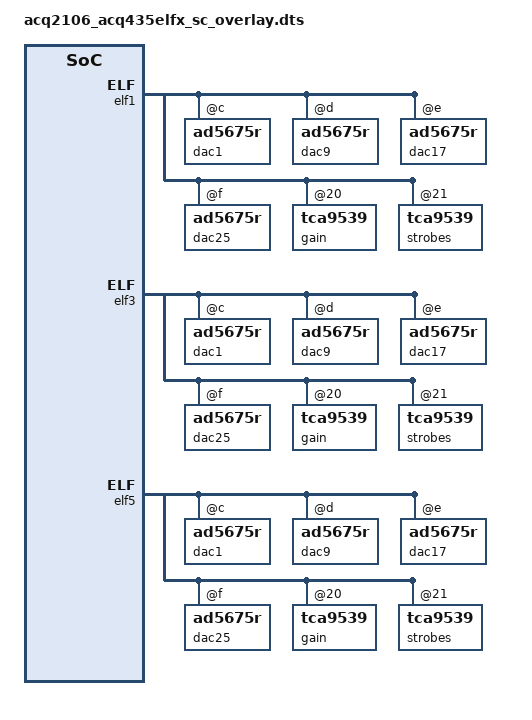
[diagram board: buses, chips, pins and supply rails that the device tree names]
/dts-v1/;
/plugin/;	/* allow undefined label references and record them */
/ {
	fragment@0 {
		target = <&elf1>;
		__overlay__ {
			#address-cells = <1>;
			#size-cells = <0>;			
			dac1@elf1 {
				compatible="ad5675r";
				reg=<0x0c>;
			};
			dac9@elf1 {
				compatible="ad5675r";
				reg=<0x0d>;
			};			
			dac17@elf1 {
				compatible="ad5675r";
				reg=<0x0e>;
			};
			dac25@elf1 {
				compatible="ad5675r";
				reg=<0x0f>;
			};
			gain@20 {
				compatible="tca9539";
				reg=<0x20>;
			};
			strobes@21 {
				compatible="tca9539";
				reg=<0x21>;
			};
		};
	};

	fragment@1 {
		target = <&elf3>;
		__overlay__ {
			#address-cells = <1>;
			#size-cells = <0>;			
			dac1@elf3 {
				compatible="ad5675r";
				reg=<0x0c>;
			};
			dac9@elf3 {
				compatible="ad5675r";
				reg=<0x0d>;
			};			
			dac17@elf3 {
				compatible="ad5675r";
				reg=<0x0e>;
			};
			dac25@elf3 {
				compatible="ad5675r";
				reg=<0x0f>;
			};
			gain@20 {
				compatible="tca9539";
				reg=<0x20>;
			};
			strobes@21 {
				compatible="tca9539";
				reg=<0x21>;
			};
		};
	};

	fragment@2 {
		target = <&elf5>;
		__overlay__ {
			#address-cells = <1>;
			#size-cells = <0>;			
			dac1@elf5 {
				compatible="ad5675r";
				reg=<0x0c>;
			};
			dac9@elf5 {
				compatible="ad5675r";
				reg=<0x0d>;
			};			
			dac17@elf5 {
				compatible="ad5675r";
				reg=<0x0e>;
			};
			dac25@elf5 {
				compatible="ad5675r";
				reg=<0x0f>;
			};
			gain@20 {
				compatible="tca9539";
				reg=<0x20>;
			};
			strobes@21 {
				compatible="tca9539";
				reg=<0x21>;
			};
		};
	};	
};
